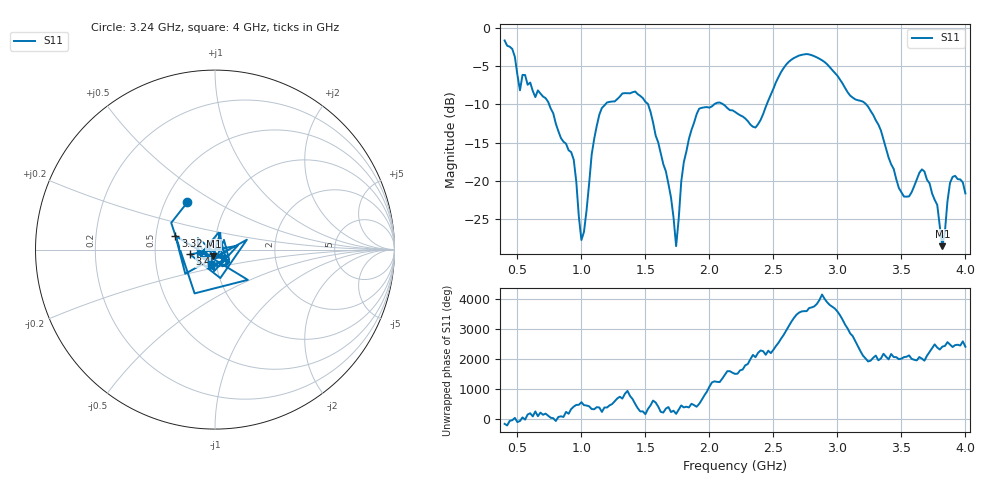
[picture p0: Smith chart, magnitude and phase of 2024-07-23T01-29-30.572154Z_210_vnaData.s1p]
!Created with skrf (http://scikit-rf.org).
# Hz S RI R 50.0
!freq ReS11 ImS11
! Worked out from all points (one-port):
!   181 points, 400 MHz to 4 GHz, reference 50 ohm
!   lowest |S11| = -28.5 dB at 3.82 GHz (marker M1), VSWR 1.08, Z = 49 - j3.58 ohm
!   |S11| at or under -10 dB: 747.5 MHz to 1.187 GHz (440 MHz wide, 45.5 % of centre); 1.521 GHz to 2.038 GHz (516.8 MHz wide, 29 % of centre); 3.224 GHz to end of sweep (the widest 3 of 4)
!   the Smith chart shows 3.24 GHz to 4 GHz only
!   S11 on the Smith chart (normalised r, x): 3.24 GHz: 0.65, +0.38; 3.32 GHz: 0.63, +0.10; 3.4 GHz: 0.75, -0.04; 4 GHz: 0.94, -0.15
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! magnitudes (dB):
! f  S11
! 400 MHz  -1.7
! 520 MHz  -8.2
! 560 MHz  -6.2
! 720 MHz  -9.2
! 860 MHz  -14.9
! 940 MHz  -17.2
! 1 GHz  -27.7
! 1.14 GHz  -11.3
! 1.3 GHz  -9.0
! 1.52 GHz  -10.0
! 1.68 GHz  -20.4
! 1.74 GHz  -28.5
! 1.76 GHz  -25.0
! 1.8 GHz  -17.6
! 1.92 GHz  -10.6
! 2.2 GHz  -11.0
! 2.36 GHz  -13.0
! 2.66 GHz  -4.0
! 3.1 GHz  -8.9
! 3.24 GHz  -10.3
! 3.32 GHz  -12.6
! 3.4 GHz  -17.0
! 3.56 GHz  -22.0
! 3.68 GHz  -18.8
! 3.78 GHz  -23.1
! 3.82 GHz  -28.5
! 3.9 GHz  -19.5
! 4 GHz  -21.6
